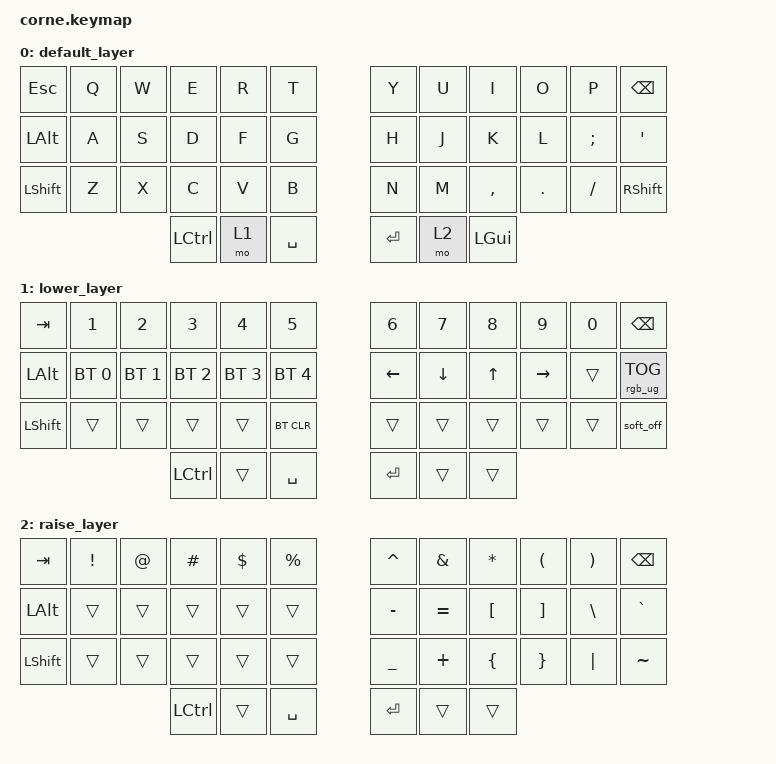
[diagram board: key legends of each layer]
/*
 * Copyright (c) 2020 The ZMK Contributors
 *
 * SPDX-License-Identifier: MIT
 */

#include <behaviors.dtsi>
#include <dt-bindings/zmk/keys.h>
#include <dt-bindings/zmk/bt.h>
#include <dt-bindings/zmk/rgb.h>

/ {
        keymap {
                compatible = "zmk,keymap";

                default_layer {
// -----------------------------------------------------------------------------------------
// |  ESC |  Q  |  W  |  E  |  R  |  T  |   |  Y  |  U   |  I  |  O  |  P  | BKSP |
// | ALT |  A  |  S  |  D  |  F  |  G  |   |  H  |  J   |  K  |  L  |  ;  |  '   |
// | SHIFT |  Z  |  X  |  C  |  V  |  B  |   |  N  |  M   |  ,  |  .  |  /  | SHIFT |
//                    | CTRL | LWR | SPC |   | ENT | RSE  | CMD |
                        bindings = <
   &kp ESC   &kp Q &kp W &kp E &kp R &kp T   &kp Y &kp U  &kp I     &kp O   &kp P    &kp BSPC
   &kp LALT &kp A &kp S &kp D &kp F &kp G   &kp H &kp J  &kp K     &kp L   &kp SEMI &kp SQT
   &kp LSHIFT &kp Z &kp X &kp C &kp V &kp B   &kp N &kp M  &kp COMMA &kp DOT &kp FSLH &kp RSHIFT
                  &kp LCTRL &mo 1 &kp SPACE   &kp RET &mo 2 &kp LGUI
                        >;
                };
                lower_layer {
// -----------------------------------------------------------------------------------------
// |  TAB |  1  |  2  |  3  |  4  |  5  |   |  6  |  7  |  8  |  9  |  0  | BKSP |
// |  ALT | BT1 | BT2 | BT3 | BT4 | BT5 |   | LFT | DWN |  UP | RGT |     | RGB TOG |
// | SHIFT |     |     |     |     |BTCLR|   |     |     |     |     |     | SOFT OFF |
//                    | CTRL |     | SPC |   | ENT |     |     |
                        bindings = <
   &kp TAB    &kp N1       &kp N2       &kp N3       &kp N4       &kp N5         &kp N6   &kp N7   &kp N8 &kp N9    &kp N0 &kp BSPC
   &kp LALT   &bt BT_SEL 0 &bt BT_SEL 1 &bt BT_SEL 2 &bt BT_SEL 3 &bt BT_SEL 4   &kp LEFT &kp DOWN &kp UP &kp RIGHT &trans &rgb_ug RGB_TOG
   &kp LSHIFT   &trans       &trans       &trans       &trans       &bt BT_CLR     &trans  &trans  &trans &trans  &trans &soft_off
                                    &kp LCTRL     &trans       &kp SPACE      &kp RET  &trans   &trans
                        >;
                };

                raise_layer {
// -----------------------------------------------------------------------------------------
// |  TAB |  !  |  @  |  #  |  $  |  %  |   |  ^  |  &  |  *  |  (  |  )  | BKSP |
// | ALT |     |     |     |     |     |   |  -  |  =  |  [  |  ]  |  \  |  `   |
// | SHFT |     |     |     |     |     |   |  _  |  +  |  {  |  }  | "|" |  ~   |
//                    | CTRL |     | SPC |   | ENT |     |     |
                        bindings = <
   &kp  TAB  &kp EXCL &kp AT &kp HASH &kp DLLR &kp PRCNT   &kp CARET &kp AMPS  &kp ASTRK &kp LPAR &kp RPAR &kp BSPC
   &kp LALT &trans   &trans &trans   &trans   &trans      &kp MINUS &kp EQUAL &kp LBKT  &kp RBKT &kp BSLH &kp GRAVE
   &kp LSHIFT &trans   &trans &trans   &trans   &trans      &kp UNDER &kp PLUS  &kp LBRC  &kp RBRC &kp PIPE &kp TILDE
                             &kp LCTRL &trans   &kp SPACE   &kp RET   &trans    &trans
                        >;
                };
        };
};
